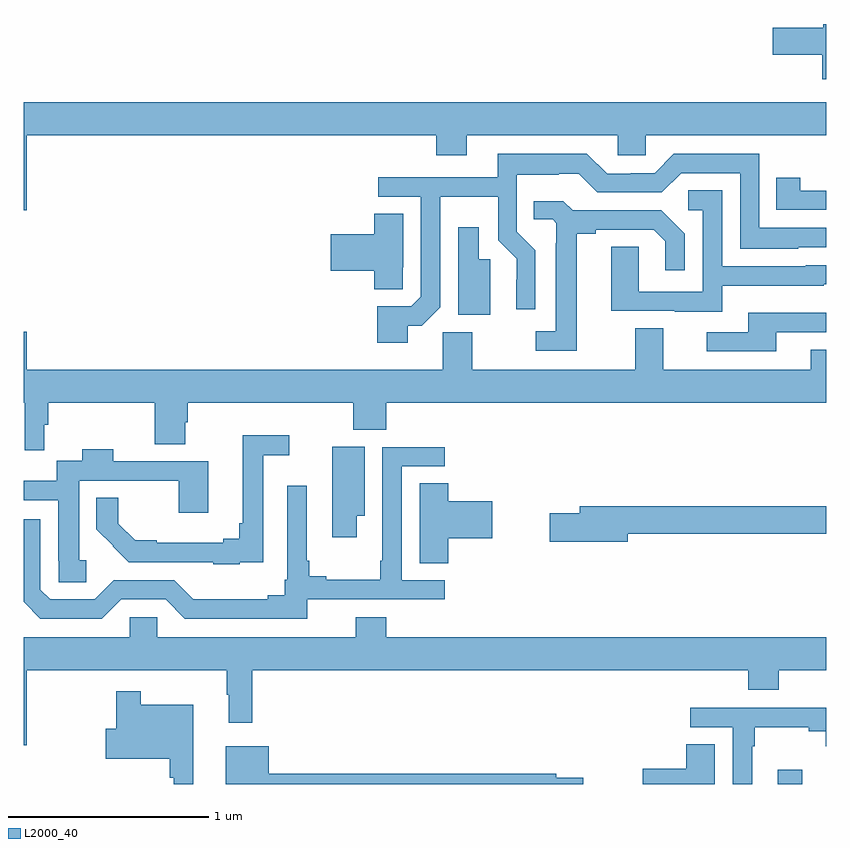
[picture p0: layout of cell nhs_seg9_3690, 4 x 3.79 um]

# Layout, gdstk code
import gdstk
lib = gdstk.Library(unit=1e-6, precision=1e-09)
def R(c, l, rs):  # rectangles x0, y0, x1, y1
    for r in rs: c.add(gdstk.rectangle(r[:2], r[2:], *l))
def P(c, l, *ps):  # polygons
    for p in ps: c.add(gdstk.Polygon(p, *l))
L2000_40 = (2000, 40)

nhs_seg9_3690 = lib.new_cell('nhs_seg9_3690')
R(nhs_seg9_3690, L2000_40, [(324.758,1214.5,324.88,1214.572)])
P(nhs_seg9_3690, L2000_40, [(325,1218.287),(324.984,1218.287),(324.984,1218.269),(324.732,1218.269),(324.732,1218.134),(324.98,1218.134),(324.98,1218.011),(325,1218.011)],
  [(321.016,1217.732),(323.057,1217.732),(323.057,1217.633),(323.209,1217.633),(323.209,1217.732),(323.961,1217.732),(323.961,1217.634),(324.099,1217.634),(324.099,1217.732),(325,1217.732),(325,1217.896),(321,1217.896),(321,1217.358),(321.016,1217.358)],
  [(322.915,1216.783),(322.983,1216.783),(323.076,1216.875),(323.076,1217.426),(323.364,1217.426),(323.364,1217.21),(323.456,1217.118),(323.456,1217.012),(323.454,1217.012),(323.454,1216.866),(323.55,1216.866),(323.55,1217.16),(323.457,1217.253),(323.457,1217.537),(323.666,1217.537),(323.666,1217.541),(323.766,1217.541),(323.859,1217.448),(324.18,1217.448),(324.276,1217.544),(324.57,1217.544),(324.57,1217.168),(324.861,1217.168),(324.861,1217.175),(325,1217.175),(325,1217.271),(324.666,1217.271),(324.666,1217.64),(324.24,1217.64),(324.144,1217.544),(324.024,1217.544),(324.024,1217.541),(323.907,1217.541),(323.807,1217.641),(323.363,1217.641),(323.363,1217.523),(322.767,1217.523),(322.767,1217.427),(322.98,1217.427),(322.98,1216.929),(322.932,1216.881),(322.763,1216.881),(322.763,1216.698),(322.915,1216.698)],
  [(325,1217.457),(324.87,1217.457),(324.87,1217.521),(324.751,1217.521),(324.751,1217.361),(325,1217.361)],
  [(324.481,1216.982),(324.987,1216.982),(324.987,1216.989),(325,1216.989),(325,1217.085),(324.897,1217.085),(324.897,1217.079),(324.48,1217.079),(324.48,1217.459),(324.312,1217.459),(324.312,1217.358),(324.384,1217.358),(324.384,1216.953),(324.066,1216.953),(324.066,1217.177),(323.927,1217.177),(323.927,1216.857),(324.245,1216.857),(324.245,1216.853),(324.481,1216.853)],
  [(323.755,1217.242),(323.851,1217.242),(323.851,1217.262),(324.14,1217.262),(324.197,1217.205),(324.197,1217.061),(324.294,1217.061),(324.294,1217.242),(324.178,1217.358),(323.736,1217.358),(323.688,1217.405),(323.542,1217.405),(323.542,1217.313),(323.637,1217.313),(323.655,1217.295),(323.655,1217.195),(323.651,1217.195),(323.651,1216.755),(323.553,1216.755),(323.553,1216.659),(323.755,1216.659)],
  [(322.89,1217.074),(322.891,1217.074),(322.891,1217.342),(322.748,1217.342),(322.748,1217.24),(322.53,1217.24),(322.53,1217.057),(322.748,1217.057),(322.748,1216.966),(322.89,1216.966)],
  [(323.326,1217.115),(323.269,1217.115),(323.269,1217.275),(323.165,1217.275),(323.165,1216.837),(323.326,1216.837)],
  [(324.751,1216.752),(325,1216.752),(325,1216.849),(324.611,1216.849),(324.611,1216.752),(324.405,1216.752),(324.405,1216.656),(324.751,1216.656)],
  [(321.016,1216.753),(321,1216.753),(321,1216.4),(321.006,1216.4),(321.006,1216.164),(321.103,1216.164),(321.103,1216.29),(321.122,1216.29),(321.122,1216.4),(321.653,1216.4),(321.653,1216.192),(321.805,1216.192),(321.805,1216.302),(321.818,1216.302),(321.818,1216.4),(322.643,1216.4),(322.643,1216.266),(322.808,1216.266),(322.808,1216.4),(325,1216.4),(325,1216.663),(324.923,1216.663),(324.923,1216.564),(324.187,1216.564),(324.187,1216.772),(324.047,1216.772),(324.047,1216.564),(323.235,1216.564),(323.235,1216.752),(323.088,1216.752),(323.088,1216.564),(321.016,1216.564)],
  [(322.077,1215.605),(322.195,1215.605),(322.195,1216.139),(322.324,1216.139),(322.324,1216.237),(322.091,1216.237),(322.091,1215.799),(322.074,1215.799),(322.074,1215.722),(321.995,1215.722),(321.995,1215.703),(321.664,1215.703),(321.664,1215.714),(321.555,1215.714),(321.472,1215.797),(321.472,1215.926),(321.362,1215.926),(321.362,1215.769),(321.446,1215.686),(321.445,1215.685),(321.524,1215.606),(321.945,1215.606),(321.945,1215.596),(322.077,1215.596)],
  [(322.66,1215.836),(322.699,1215.836),(322.699,1216.18),(322.538,1216.18),(322.538,1215.729),(322.66,1215.729)],
  [(321.486,1215.42),(321.708,1215.42),(321.804,1215.324),(322.413,1215.324),(322.413,1215.42),(323.098,1215.42),(323.098,1215.516),(322.884,1215.516),(322.884,1216.083),(323.098,1216.083),(323.098,1216.179),(322.788,1216.179),(322.788,1215.613),(322.776,1215.613),(322.776,1215.518),(322.507,1215.518),(322.507,1215.536),(322.423,1215.536),(322.423,1215.613),(322.41,1215.613),(322.41,1215.985),(322.314,1215.985),(322.314,1215.517),(322.302,1215.517),(322.302,1215.44),(322.217,1215.44),(322.217,1215.421),(321.845,1215.421),(321.75,1215.516),(321.45,1215.516),(321.354,1215.42),(321.132,1215.42),(321.084,1215.468),(321.084,1215.819),(321,1215.819),(321,1215.409),(321.084,1215.324),(321.39,1215.324)],
  [(321.312,1215.616),(321.277,1215.616),(321.277,1216.011),(321.529,1216.011),(321.529,1216.01),(321.772,1216.01),(321.772,1215.852),(321.919,1215.852),(321.919,1216.107),(321.446,1216.107),(321.446,1216.168),(321.293,1216.168),(321.293,1216.111),(321.164,1216.111),(321.164,1216.012),(321,1216.012),(321,1215.915),(321.173,1215.915),(321.173,1215.613),(321.174,1215.613),(321.174,1215.505),(321.312,1215.505)],
  [(323.117,1215.725),(323.335,1215.725),(323.335,1215.908),(323.117,1215.908),(323.117,1215.998),(322.973,1215.998),(322.973,1215.601),(323.117,1215.601)],
  [(324.01,1215.748),(325,1215.748),(325,1215.884),(323.771,1215.884),(323.771,1215.848),(323.622,1215.848),(323.622,1215.706),(324.01,1215.706)],
  [(321.016,1215.068),(322.011,1215.068),(322.011,1214.945),(322.022,1214.945),(322.022,1214.805),(322.139,1214.805),(322.139,1215.068),(324.611,1215.068),(324.611,1214.969),(324.763,1214.969),(324.763,1215.068),(325,1215.068),(325,1215.232),(322.808,1215.232),(322.808,1215.331),(322.655,1215.331),(322.655,1215.232),(321.666,1215.232),(321.666,1215.33),(321.528,1215.33),(321.528,1215.232),(321,1215.232),(321,1214.694),(321.016,1214.694)],
  [(321.844,1214.896),(321.583,1214.896),(321.583,1214.962),(321.462,1214.962),(321.462,1214.775),(321.41,1214.775),(321.41,1214.627),(321.727,1214.627),(321.727,1214.531),(321.747,1214.531),(321.747,1214.5),(321.844,1214.5)],
  [(324.63,1214.687),(324.643,1214.687),(324.643,1214.783),(324.911,1214.783),(324.911,1214.764),(324.996,1214.764),(324.996,1214.687),(325,1214.687),(325,1214.88),(324.321,1214.88),(324.321,1214.784),(324.534,1214.784),(324.534,1214.5),(324.63,1214.5)],
  [(324.445,1214.699),(324.302,1214.699),(324.302,1214.576),(324.084,1214.576),(324.084,1214.5),(324.445,1214.5)],
  [(323.788,1214.532),(323.654,1214.532),(323.654,1214.552),(322.222,1214.552),(322.222,1214.689),(322.007,1214.689),(322.007,1214.5),(323.788,1214.5)])

lib.write_gds('nhs_seg9_3690.gds')
